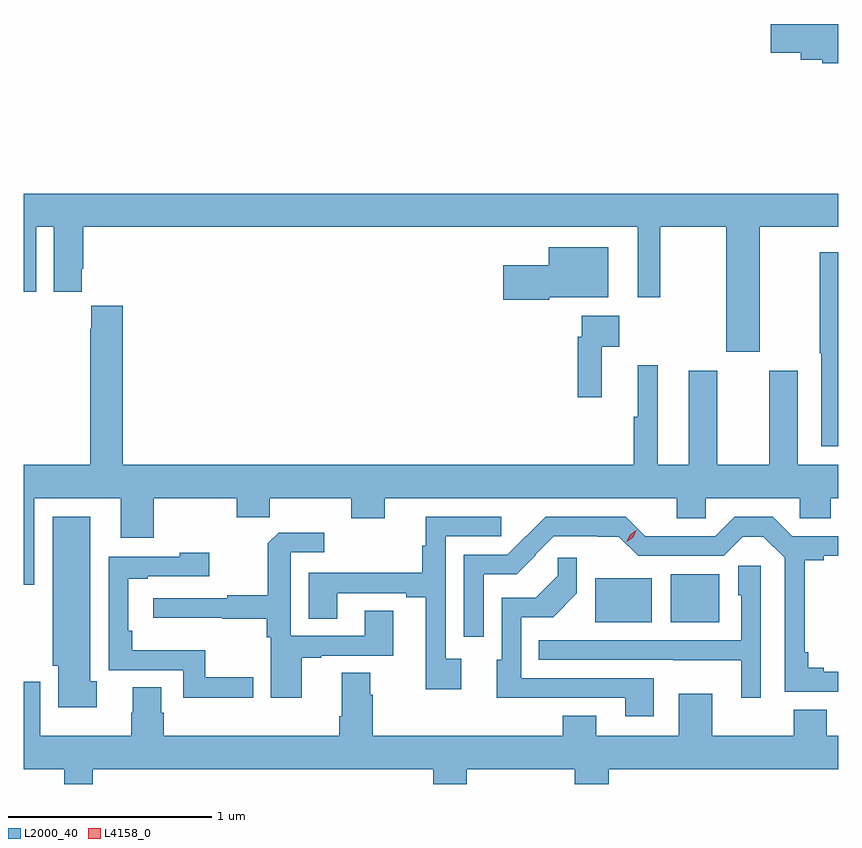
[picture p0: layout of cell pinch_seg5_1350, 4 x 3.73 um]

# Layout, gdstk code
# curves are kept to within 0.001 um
import gdstk
lib = gdstk.Library(unit=1e-6, precision=1e-09)
def R(c, l, rs):  # rectangles x0, y0, x1, y1
    for r in rs: c.add(gdstk.rectangle(r[:2], r[2:], *l))
def P(c, l, *ps):  # polygons
    for p in ps: c.add(gdstk.Polygon(p, *l))
L2000_40 = (2000, 40)
L4158_0 = (4158, 0)

pinch_seg5_1350 = lib.new_cell('pinch_seg5_1350')
R(pinch_seg5_1350, L2000_40, [(184.232,897.443,184.51,897.658), (184.604,897.443,184.843,897.679)])
P(pinch_seg5_1350, L2000_40, [(185.426,900.381),(185.094,900.381),(185.094,900.239),(185.243,900.239),(185.243,900.206),(185.347,900.206),(185.347,900.187),(185.426,900.187)],
  [(181.426,899.067),(181.486,899.067),(181.486,899.384),(181.574,899.384),(181.574,899.067),(181.711,899.067),(181.711,899.179),(181.718,899.179),(181.718,899.384),(184.442,899.384),(184.442,899.04),(184.552,899.04),(184.552,899.384),(184.877,899.384),(184.877,898.77),(185.041,898.77),(185.041,899.384),(185.426,899.384),(185.426,899.548),(181.426,899.548)],
  [(184.008,899.039),(184.297,899.039),(184.297,899.284),(184.004,899.284),(184.004,899.197),(183.78,899.197),(183.78,899.027),(184.008,899.027)],
  [(185.426,899.26),(185.335,899.26),(185.335,898.765),(185.342,898.765),(185.342,898.308),(185.426,898.308)],
  [(184.265,898.796),(184.351,898.796),(184.351,898.948),(184.167,898.948),(184.167,898.844),(184.147,898.844),(184.147,898.548),(184.265,898.548)],
  [(185.227,898.678),(185.087,898.678),(185.087,898.216),(184.831,898.216),(184.831,898.678),(184.691,898.678),(184.691,898.216),(184.54,898.216),(184.54,898.705),(184.442,898.705),(184.442,898.452),(184.423,898.452),(184.423,898.216),(181.913,898.216),(181.913,898.996),(181.757,898.996),(181.757,898.883),(181.753,898.883),(181.753,898.216),(181.426,898.216),(181.426,897.627),(181.477,897.627),(181.477,898.052),(181.901,898.052),(181.901,897.858),(182.065,897.858),(182.065,898.052),(182.471,898.052),(182.471,897.959),(182.635,897.959),(182.635,898.052),(183.035,898.052),(183.035,897.953),(183.199,897.953),(183.199,898.052),(184.634,898.052),(184.634,897.954),(184.776,897.954),(184.776,898.052),(185.238,898.052),(185.238,897.954),(185.39,897.954),(185.39,898.052),(185.426,898.052),(185.426,898.216),(185.227,898.216)],
  [(181.783,897.152),(181.753,897.152),(181.753,897.961),(181.568,897.961),(181.568,897.228),(181.595,897.228),(181.595,897.026),(181.783,897.026)],
  [(183.574,897.262),(183.498,897.262),(183.498,897.864),(183.771,897.864),(183.771,897.96),(183.401,897.96),(183.401,897.818),(183.382,897.818),(183.382,897.686),(182.825,897.686),(182.825,897.46),(182.965,897.46),(182.965,897.585),(183.305,897.585),(183.305,897.565),(183.401,897.565),(183.401,897.114),(183.574,897.114)],
  [(185.426,897.199),(185.356,897.199),(185.356,897.218),(185.279,897.218),(185.279,897.295),(185.261,897.295),(185.261,897.748),(185.356,897.748),(185.356,897.768),(185.426,897.768),(185.426,897.864),(185.2,897.864),(185.104,897.96),(184.917,897.96),(184.821,897.864),(184.582,897.864),(184.582,897.866),(184.478,897.866),(184.383,897.96),(183.989,897.96),(183.801,897.774),(183.588,897.774),(183.588,897.372),(183.684,897.372),(183.684,897.678),(183.847,897.678),(183.941,897.772),(183.939,897.774),(184.029,897.864),(184.349,897.863),(184.443,897.768),(184.863,897.768),(184.958,897.863),(185.059,897.863),(185.163,897.759),(185.163,897.102),(185.426,897.102)],
  [(182.791,897.267),(182.887,897.267),(182.887,897.279),(183.241,897.279),(183.241,897.5),(183.101,897.5),(183.101,897.375),(182.736,897.375),(182.736,897.786),(182.902,897.786),(182.902,897.883),(182.677,897.883),(182.625,897.831),(182.625,897.574),(182.425,897.574),(182.425,897.561),(182.061,897.561),(182.061,897.464),(182.401,897.464),(182.401,897.46),(182.62,897.46),(182.62,897.368),(182.64,897.368),(182.64,897.072),(182.791,897.072)],
  [(182.554,897.173),(182.317,897.173),(182.317,897.304),(181.958,897.304),(181.958,897.4),(181.938,897.4),(181.938,897.657),(182.035,897.657),(182.035,897.669),(182.338,897.669),(182.338,897.784),(182.193,897.784),(182.193,897.765),(181.842,897.765),(181.842,897.207),(182.208,897.207),(182.208,897.071),(182.554,897.071)],
  [(184.519,897.168),(183.87,897.168),(183.87,897.468),(184.027,897.468),(184.143,897.584),(184.143,897.76),(184.048,897.76),(184.048,897.672),(183.94,897.564),(183.774,897.564),(183.774,897.258),(183.749,897.258),(183.749,897.071),(184.379,897.072),(184.379,896.982),(184.519,896.982)],
  [(185.046,897.719),(184.934,897.719),(184.934,897.576),(184.95,897.576),(184.95,897.354),(183.955,897.354),(183.955,897.258),(184.615,897.258),(184.615,897.257),(184.949,897.257),(184.949,897.072),(185.046,897.072)],
  [(181.764,896.72),(183.437,896.72),(183.437,896.648),(183.602,896.648),(183.602,896.72),(184.133,896.72),(184.133,896.648),(184.298,896.648),(184.298,896.72),(185.426,896.72),(185.426,896.884),(185.371,896.884),(185.371,897.013),(185.207,897.013),(185.207,896.884),(184.807,896.884),(184.807,897.091),(184.643,897.091),(184.643,896.884),(184.237,896.884),(184.237,896.983),(184.073,896.983),(184.073,896.884),(183.14,896.884),(183.14,897.086),(183.127,897.086),(183.127,897.194),(182.987,897.194),(182.987,896.98),(182.975,896.98),(182.975,896.884),(182.114,896.884),(182.114,896.997),(182.101,896.997),(182.101,897.122),(181.961,897.122),(181.961,896.997),(181.954,896.997),(181.954,896.884),(181.507,896.884),(181.507,897.151),(181.426,897.151),(181.426,896.72),(181.625,896.72),(181.625,896.648),(181.764,896.648)])
P(pinch_seg5_1350, L4158_0, [(184.388,897.839),(184.388,897.84),(184.404,897.873),(184.435,897.894),(184.435,897.894),(184.435,897.894),(184.419,897.86),(184.388,897.839)])

lib.write_gds('pinch_seg5_1350.gds')
